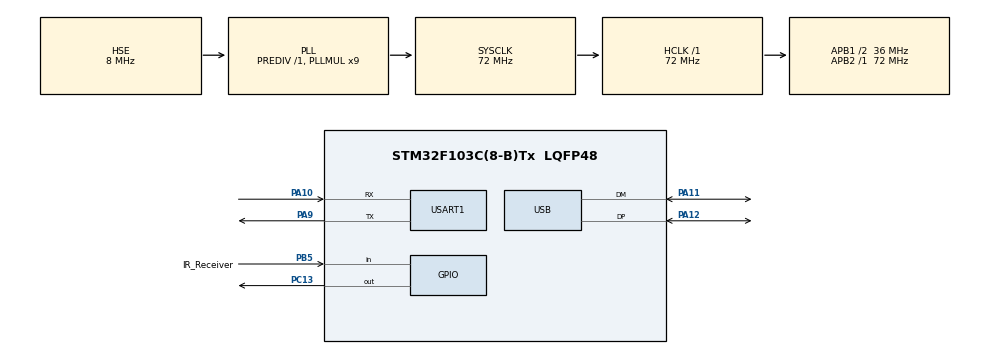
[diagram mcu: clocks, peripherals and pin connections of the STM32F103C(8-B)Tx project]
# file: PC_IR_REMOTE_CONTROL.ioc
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Mcu.Family=STM32F1
Mcu.Name=STM32F103C(8-B)Tx
Mcu.Package=LQFP48
NVIC.PriorityGroup=NVIC_PRIORITYGROUP_4
NVIC.TIM4_IRQn=true\:0\:0\:false\:false\:true\:true\:true\:true
NVIC.USB_LP_CAN1_RX0_IRQn=true\:0\:0\:false\:false\:true\:false\:true\:true
PA10.Mode=Asynchronous
PA10.Signal=USART1_RX
PA11.Mode=Device
PA11.Signal=USB_DM
PA12.Mode=Device
PA12.Signal=USB_DP
PA13.Mode=Serial_Wire
PA13.Signal=SYS_JTMS-SWDIO
PA14.Mode=Serial_Wire
PA14.Signal=SYS_JTCK-SWCLK
PA9.Mode=Asynchronous
PA9.Signal=USART1_TX
PB5.GPIO_Label=IR_Receiver
PB5.Signal=GPIO_Input
PC13-TAMPER-RTC.Signal=GPIO_Output
PD0-OSC_IN.Mode=HSE-External-Oscillator
PD0-OSC_IN.Signal=RCC_OSC_IN
PD1-OSC_OUT.Mode=HSE-External-Oscillator
PD1-OSC_OUT.Signal=RCC_OSC_OUT
ProjectManager.HeapSize=0x200
ProjectManager.StackSize=0x400
ProjectManager.TargetToolchain=STM32CubeIDE
RCC.AHBFreq_Value=72000000
RCC.APB1CLKDivider=RCC_HCLK_DIV2
RCC.APB1Freq_Value=36000000
RCC.APB1TimFreq_Value=72000000
RCC.APB2Freq_Value=72000000
RCC.APB2TimFreq_Value=72000000
RCC.HCLKFreq_Value=72000000
RCC.PLLMUL=RCC_PLL_MUL9
RCC.PLLSourceVirtual=RCC_PLLSOURCE_HSE
RCC.SYSCLKFreq_VALUE=72000000
RCC.SYSCLKSource=RCC_SYSCLKSOURCE_PLLCLK
RCC.USBFreq_Value=48000000
RCC.USBPrescaler=RCC_USBCLKSOURCE_PLL_DIV1_5
TIM4.Period=49
TIM4.Prescaler=71
USART1.VirtualMode=VM_ASYNC
USB_DEVICE.CLASS_NAME_FS=HID
USB_DEVICE.PRODUCT_STRING_HID_FS=STM32 KEYBOARD
USB_DEVICE.VirtualMode=Hid
USB_DEVICE.VirtualModeFS=Hid_FS
VP_TIM4_VS_ClockSourceINT.Mode=Internal
VP_USB_DEVICE_VS_USB_DEVICE_HID_FS.Mode=HID_FS
board=custom

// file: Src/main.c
/* USER CODE BEGIN Header */
/**
 ******************************************************************************
 * @file           : main.c
 * @brief          : Main program body
 ******************************************************************************
 * @attention
 *
 * Copyright (c) 2022 STMicroelectronics.
 * All rights reserved.
 *
 * This software is licensed under terms that can be found in the LICENSE file
 * in the root directory of this software component.
 * If no LICENSE file comes with this software, it is provided AS-IS.
 *
 ******************************************************************************
 */
/* USER CODE END Header */
#include "main.h"
#include "usb_device.h"

/* USER CODE BEGIN Includes */
#include "usbd_hid.h"
#include <stdio.h>
#include "ir_remote.h"
/* USER CODE END Includes */

TIM_HandleTypeDef htim4;

UART_HandleTypeDef huart1;

/* USER CODE BEGIN PV */
decode_results results;
/* USER CODE END PV */

void SystemClock_Config(void);
static void MX_GPIO_Init(void);
static void MX_USART1_UART_Init(void);
static void MX_TIM4_Init(void);

/* USER CODE BEGIN 0 */
extern USBD_HandleTypeDef hUsbDeviceFS;

typedef struct {
	uint8_t REPORT_ID;
	uint8_t MODIFIER;
	uint8_t RESERVED;
	uint8_t KEYCODE_1;
	uint8_t KEYCODE_2;
	uint8_t KEYCODE_3;
	uint8_t KEYCODE_4;
	uint8_t KEYCODE_5;
	uint8_t KEYCODE_6;
} keyboardHID;

keyboardHID keyboard = { 1, 0, 0, 0, 0, 0, 0, 0, 0 };

#pragma pack(push, 1)
typedef struct {
	uint8_t REPORT_ID;
	uint16_t MEDIAKEY;
} mediakeyHID;
#pragma pack(pop)

mediakeyHID mediakey = { 2, 0 };

uint8_t keyF = 0;

/* USER CODE END 0 */

int main(void) {

	/* MCU Configuration--------------------------------------------------------*/

	/* Reset of all peripherals, Initializes the Flash interface and the Systick. */
	HAL_Init();

	/* Configure the system clock */
	SystemClock_Config();

	/* Initialize all configured peripherals */
	MX_GPIO_Init();
	MX_USART1_UART_Init();
	MX_USB_DEVICE_Init();
	MX_TIM4_Init();
	/* USER CODE BEGIN 2 */
	ir_enableIRIn();

	char trans_str[64] = { 0, };
	snprintf(trans_str, 64, "IR-receiver\r\n");
	HAL_UART_Transmit(&huart1, (uint8_t*) trans_str, strlen(trans_str), 100);
	/* USER CODE END 2 */

	/* Infinite loop */
	/* USER CODE BEGIN WHILE A*/
	while (1) {

		if (keyF)
			HAL_GPIO_WritePin(GPIOC, GPIO_PIN_13, GPIO_PIN_RESET);
		else
			HAL_GPIO_WritePin(GPIOC, GPIO_PIN_13, GPIO_PIN_SET);

		if (ir_decode(&results)) {
			snprintf(trans_str, 64, "Code: HEX %p DEC %lu\r\n",
					(void*) results.value, results.value);
			HAL_UART_Transmit(&huart1, (uint8_t*) trans_str, strlen(trans_str),
					100);
			HAL_Delay(50);
			ir_resume();

			if (results.value == 0xd538681b) {
				mediakey.MEDIAKEY = 0b0000000000000001; // VOL-
				USBD_HID_SendReport(&hUsbDeviceFS, &mediakey, sizeof(mediakey));
				HAL_Delay(50);
				mediakey.MEDIAKEY = 0x00;
				USBD_HID_SendReport(&hUsbDeviceFS, &mediakey, sizeof(mediakey));
			}

			else if (results.value == 0x8c22657b) {
				mediakey.MEDIAKEY = 0b0000000000000010; // VOL+
				USBD_HID_SendReport(&hUsbDeviceFS, &mediakey, sizeof(mediakey));
				HAL_Delay(50);
				mediakey.MEDIAKEY = 0x00;
				USBD_HID_SendReport(&hUsbDeviceFS, &mediakey, sizeof(mediakey));
			}

			else if (results.value == 0x51e43d1b) {
				mediakey.MEDIAKEY = 0b0000000000000100; // MUTE
				USBD_HID_SendReport(&hUsbDeviceFS, &mediakey, sizeof(mediakey));
				HAL_Delay(50);
				mediakey.MEDIAKEY = 0x00;
				USBD_HID_SendReport(&hUsbDeviceFS, &mediakey, sizeof(mediakey));
			}

			else if (results.value == 0x9716be3f) {
				mediakey.MEDIAKEY = 0b0000000000001000; // PREV
				USBD_HID_SendReport(&hUsbDeviceFS, &mediakey, sizeof(mediakey));
				HAL_Delay(50);
				mediakey.MEDIAKEY = 0x00;
				USBD_HID_SendReport(&hUsbDeviceFS, &mediakey, sizeof(mediakey));
			}

			else if (results.value == 0xe5cfbd7f) {
				mediakey.MEDIAKEY = 0b0000000000010000; // NEXT
				USBD_HID_SendReport(&hUsbDeviceFS, &mediakey, sizeof(mediakey));
				HAL_Delay(50);
				mediakey.MEDIAKEY = 0x00;
				USBD_HID_SendReport(&hUsbDeviceFS, &mediakey, sizeof(mediakey));
			}

			else if (results.value == 0xdc0197db) {
				mediakey.MEDIAKEY = 0b0000000000100000; // PLAY/PAUSE
				USBD_HID_SendReport(&hUsbDeviceFS, &mediakey, sizeof(mediakey));
				HAL_Delay(50);
				mediakey.MEDIAKEY = 0x00;
				USBD_HID_SendReport(&hUsbDeviceFS, &mediakey, sizeof(mediakey));
			}

			else if (results.value == 0x86b0e697) {
				mediakey.MEDIAKEY = 0b0000000010000000; // STOP
				USBD_HID_SendReport(&hUsbDeviceFS, &mediakey, sizeof(mediakey));
				HAL_Delay(50);
				mediakey.MEDIAKEY = 0x00;
				USBD_HID_SendReport(&hUsbDeviceFS, &mediakey, sizeof(mediakey));
			}

			else if (results.value == 0x488f3cbb) {
				mediakey.MEDIAKEY = 0b0000000001000000; // PAUSE
				USBD_HID_SendReport(&hUsbDeviceFS, &mediakey, sizeof(mediakey));
				HAL_Delay(50);
				mediakey.MEDIAKEY = 0x00;
				USBD_HID_SendReport(&hUsbDeviceFS, &mediakey, sizeof(mediakey));
			}

			else if (results.value == 0xa23c94bf) { // PLAY
				mediakey.MEDIAKEY = 0b0000100000000000;
				USBD_HID_SendReport(&hUsbDeviceFS, &mediakey, sizeof(mediakey));
				HAL_Delay(50);
				mediakey.MEDIAKEY = 0x00;
				USBD_HID_SendReport(&hUsbDeviceFS, &mediakey, sizeof(mediakey));
			}

			else if (results.value == 0xab91951f) { // REWIND
				mediakey.MEDIAKEY = 0b0000000100000000;
				USBD_HID_SendReport(&hUsbDeviceFS, &mediakey, sizeof(mediakey));
				HAL_Delay(50);
				mediakey.MEDIAKEY = 0x00;
				USBD_HID_SendReport(&hUsbDeviceFS, &mediakey, sizeof(mediakey));
			}

			else if (results.value == 0xff9186b7) { // FORWARD
				mediakey.MEDIAKEY = 0b0000001000000000;
				USBD_HID_SendReport(&hUsbDeviceFS, &mediakey, sizeof(mediakey));
				HAL_Delay(50);
				mediakey.MEDIAKEY = 0x00;
				USBD_HID_SendReport(&hUsbDeviceFS, &mediakey, sizeof(mediakey));
			}
			/*
			 else if (results.value == 0x00ff00) { // RESERVED MEDIA BUTTON
			 mediakey.MEDIAKEY = 0b0000010000000000;
			 USBD_HID_SendReport(&hUsbDeviceFS, &mediakey, sizeof(mediakey));
			 HAL_Delay(50);
			 mediakey.MEDIAKEY = 0x00;
			 USBD_HID_SendReport(&hUsbDeviceFS, &mediakey, sizeof(mediakey));
			 }

			 else if (results.value == 0x00ff00) { // RESERVED MEDIA BUTTON
			 mediakey.MEDIAKEY = 0b0001000000000000;
			 USBD_HID_SendReport(&hUsbDeviceFS, &mediakey, sizeof(mediakey));
			 HAL_Delay(50);
			 mediakey.MEDIAKEY = 0x00;
			 USBD_HID_SendReport(&hUsbDeviceFS, &mediakey, sizeof(mediakey));
			 }

			 else if (results.value == 0x00ff00) { // RESERVED MEDIA BUTTON
			 mediakey.MEDIAKEY = 0b0010000000000000;
			 USBD_HID_SendReport(&hUsbDeviceFS, &mediakey, sizeof(mediakey));
			 HAL_Delay(50);
			 mediakey.MEDIAKEY = 0x00;
			 USBD_HID_SendReport(&hUsbDeviceFS, &mediakey, sizeof(mediakey));
			 }

			 else if (results.value == 0x00ff00) { // RESERVED MEDIA BUTTON
			 mediakey.MEDIAKEY = 0b0100000000000000;
			 USBD_HID_SendReport(&hUsbDeviceFS, &mediakey, sizeof(mediakey));
			 HAL_Delay(50);
			 mediakey.MEDIAKEY = 0x00;
			 USBD_HID_SendReport(&hUsbDeviceFS, &mediakey, sizeof(mediakey));
			 }

			 else if (results.value == 0x00ff00) { // RESERVED MEDIA BUTTON
			 mediakey.MEDIAKEY = 0b1000000000000000;
			 USBD_HID_SendReport(&hUsbDeviceFS, &mediakey, sizeof(mediakey));
			 HAL_Delay(50);
			 mediakey.MEDIAKEY = 0x00;
			 USBD_HID_SendReport(&hUsbDeviceFS, &mediakey, sizeof(mediakey));
			 }
			 */
			else if (results.value == 0x35a9425f) {
				keyboard.KEYCODE_1 = 0x52; // Command: "Up"
				USBD_HID_SendReport(&hUsbDeviceFS, &keyboard, sizeof(keyboard));
				HAL_Delay(50);
				keyboard.MODIFIER = 0x00;
				keyboard.KEYCODE_1 = 0x00;
				USBD_HID_SendReport(&hUsbDeviceFS, &keyboard, sizeof(keyboard));
			}

			else if (results.value == 0x9ef4941f) {
				keyboard.KEYCODE_1 = 0x50; // Command: "Left"
				USBD_HID_SendReport(&hUsbDeviceFS, &keyboard, sizeof(keyboard));
				HAL_Delay(50);
				keyboard.MODIFIER = 0x00;
				keyboard.KEYCODE_1 = 0x00;
				USBD_HID_SendReport(&hUsbDeviceFS, &keyboard, sizeof(keyboard));
			}

			else if (results.value == 0x8e5d3ebb) {
				keyboard.KEYCODE_1 = 0x4F; // Command: "Right"
				USBD_HID_SendReport(&hUsbDeviceFS, &keyboard, sizeof(keyboard));
				HAL_Delay(50);
				keyboard.MODIFIER = 0x00;
				keyboard.KEYCODE_1 = 0x00;
				USBD_HID_SendReport(&hUsbDeviceFS, &keyboard, sizeof(keyboard));
			}

			else if (results.value == 0xa3c8eddb) {
				keyboard.KEYCODE_1 = 0x51; // Command: "Down"
				USBD_HID_SendReport(&hUsbDeviceFS, &keyboard, sizeof(keyboard));
				HAL_Delay(50);
				keyboard.MODIFIER = 0x00;
				keyboard.KEYCODE_1 = 0x00;
				USBD_HID_SendReport(&hUsbDeviceFS, &keyboard, sizeof(keyboard));
			}

			else if (results.value == 0xf377c5b7) {
				keyboard.KEYCODE_1 = 0x28; // Command: "Enter"
				USBD_HID_SendReport(&hUsbDeviceFS, &keyboard, sizeof(keyboard));
				HAL_Delay(50);
				keyboard.MODIFIER = 0x00;
				keyboard.KEYCODE_1 = 0x00;
				USBD_HID_SendReport(&hUsbDeviceFS, &keyboard, sizeof(keyboard));
			}

			else if (results.value == 0xc101e57b) {
				keyboard.KEYCODE_1 = 0x29; // Command: "Esc"
				USBD_HID_SendReport(&hUsbDeviceFS, &keyboard, sizeof(keyboard));
				HAL_Delay(50);
				keyboard.MODIFIER = 0x00;
				keyboard.KEYCODE_1 = 0x00;
				USBD_HID_SendReport(&hUsbDeviceFS, &keyboard, sizeof(keyboard));
			}

			else if (results.value == 0x5be75e7f) {
				keyboard.KEYCODE_1 = 0x09; // [OFF] Command: "F"
				USBD_HID_SendReport(&hUsbDeviceFS, &keyboard, sizeof(keyboard));
				HAL_Delay(50);
				keyboard.MODIFIER = 0x00;
				keyboard.KEYCODE_1 = 0x00;
				USBD_HID_SendReport(&hUsbDeviceFS, &keyboard, sizeof(keyboard));
			}

			else if (results.value == 0x97483bfb) {
				keyboard.KEYCODE_1 = 0x2C; // Command: "Space"
				USBD_HID_SendReport(&hUsbDeviceFS, &keyboard, sizeof(keyboard));
				HAL_Delay(50);
				keyboard.MODIFIER = 0x00;
				keyboard.KEYCODE_1 = 0x00;
				USBD_HID_SendReport(&hUsbDeviceFS, &keyboard, sizeof(keyboard));
			}

			else if (results.value == 0x3d9ae3f7) {
				keyboard.KEYCODE_1 = 0x2B; // Command: "Tab"
				USBD_HID_SendReport(&hUsbDeviceFS, &keyboard, sizeof(keyboard));
				HAL_Delay(50);
				keyboard.MODIFIER = 0x00;
				keyboard.KEYCODE_1 = 0x00;
				USBD_HID_SendReport(&hUsbDeviceFS, &keyboard, sizeof(keyboard));
			}

			else if (results.value == 0xf63c8657) {
				if (!keyF)
					keyboard.KEYCODE_1 = 0x1E; // Command: "1"
				else
					keyboard.KEYCODE_1 = 0x3A; // Command: "F1"
				USBD_HID_SendReport(&hUsbDeviceFS, &keyboard, sizeof(keyboard));
				HAL_Delay(50);
				keyboard.MODIFIER = 0x00;
				keyboard.KEYCODE_1 = 0x00;
				USBD_HID_SendReport(&hUsbDeviceFS, &keyboard, sizeof(keyboard));
			}

			else if (results.value == 0xe721c0db) {
				if (!keyF)
					keyboard.KEYCODE_1 = 0x1F; // Command: "2"
				else
					keyboard.KEYCODE_1 = 0x3B; // Command: "F2"
				USBD_HID_SendReport(&hUsbDeviceFS, &keyboard, sizeof(keyboard));
				HAL_Delay(50);
				keyboard.MODIFIER = 0x00;
				keyboard.KEYCODE_1 = 0x00;
				USBD_HID_SendReport(&hUsbDeviceFS, &keyboard, sizeof(keyboard));
			}

			else if (results.value == 0xaa99e7b) {
				if (!keyF)
					keyboard.KEYCODE_1 = 0x20; // Command: "3"
				else
					keyboard.KEYCODE_1 = 0x3C; // Command: "F3"
				USBD_HID_SendReport(&hUsbDeviceFS, &keyboard, sizeof(keyboard));
				HAL_Delay(50);
				keyboard.MODIFIER = 0x00;
				keyboard.KEYCODE_1 = 0x00;
				USBD_HID_SendReport(&hUsbDeviceFS, &keyboard, sizeof(keyboard));
			}

			else if (results.value == 0x6456f67f) {
				if (!keyF)
					keyboard.KEYCODE_1 = 0x21; // Command: "4"
				else
					keyboard.KEYCODE_1 = 0x3D; // Command: "F4"
				USBD_HID_SendReport(&hUsbDeviceFS, &keyboard, sizeof(keyboard));
				HAL_Delay(50);
				keyboard.MODIFIER = 0x00;
				keyboard.KEYCODE_1 = 0x00;
				USBD_HID_SendReport(&hUsbDeviceFS, &keyboard, sizeof(keyboard));
			}

			else if (results.value == 0x378e71f) {
				if (!keyF)
					keyboard.KEYCODE_1 = 0x22; // Command: "5"
				else
					keyboard.KEYCODE_1 = 0x3E; // Command: "F5"
				USBD_HID_SendReport(&hUsbDeviceFS, &keyboard, sizeof(keyboard));
				HAL_Delay(50);
				keyboard.MODIFIER = 0x00;
				keyboard.KEYCODE_1 = 0x00;
				USBD_HID_SendReport(&hUsbDeviceFS, &keyboard, sizeof(keyboard));
			}

			else if (results.value == 0x53bfa11b) {
				if (!keyF)
					keyboard.KEYCODE_1 = 0x23; // Command: "6"
				else
					keyboard.KEYCODE_1 = 0x3F; // Command: "F6"
				USBD_HID_SendReport(&hUsbDeviceFS, &keyboard, sizeof(keyboard));
				HAL_Delay(50);
				keyboard.MODIFIER = 0x00;
				keyboard.KEYCODE_1 = 0x00;
				USBD_HID_SendReport(&hUsbDeviceFS, &keyboard, sizeof(keyboard));
			}

			else if (results.value == 0x2355bd47) {
				if (!keyF)
					keyboard.KEYCODE_1 = 0x24; // Command: "7"
				else
					keyboard.KEYCODE_1 = 0x40; // Command: "F7"
				USBD_HID_SendReport(&hUsbDeviceFS, &keyboard, sizeof(keyboard));
				HAL_Delay(50);
				keyboard.MODIFIER = 0x00;
				keyboard.KEYCODE_1 = 0x00;
				USBD_HID_SendReport(&hUsbDeviceFS, &keyboard, sizeof(keyboard));
			}

			else if (results.value == 0xb3ca0f43) {
				if (!keyF)
					keyboard.KEYCODE_1 = 0x25; // Command: "8"
				else
					keyboard.KEYCODE_1 = 0x41; // Command: "F8"
				USBD_HID_SendReport(&hUsbDeviceFS, &keyboard, sizeof(keyboard));
				HAL_Delay(50);
				keyboard.MODIFIER = 0x00;
				keyboard.KEYCODE_1 = 0x00;
				USBD_HID_SendReport(&hUsbDeviceFS, &keyboard, sizeof(keyboard));
			}

			else if (results.value == 0xd10306e3) {
				if (!keyF)
					keyboard.KEYCODE_1 = 0x26; // Command: "9"
				else
					keyboard.KEYCODE_1 = 0x42; // Command: "F9"
				USBD_HID_SendReport(&hUsbDeviceFS, &keyboard, sizeof(keyboard));
				HAL_Delay(50);
				keyboard.MODIFIER = 0x00;
				keyboard.KEYCODE_1 = 0x00;
				USBD_HID_SendReport(&hUsbDeviceFS, &keyboard, sizeof(keyboard));
			}

			else if (results.value == 0xb40c5d5f) {
				if (!keyF)
					keyboard.KEYCODE_1 = 0x27; // Command: "0"
				else
					keyboard.KEYCODE_1 = 0x43; // Command: "F10"
				USBD_HID_SendReport(&hUsbDeviceFS, &keyboard, sizeof(keyboard));
				HAL_Delay(50);
				keyboard.MODIFIER = 0x00;
				keyboard.KEYCODE_1 = 0x00;
				USBD_HID_SendReport(&hUsbDeviceFS, &keyboard, sizeof(keyboard));
			}

			else if (results.value == 0x2149c0df) {
				if (!keyF)
					keyboard.KEYCODE_1 = 0x2D; // Command: "-"
				else
					keyboard.KEYCODE_1 = 0x44; // Command: "F11"
				USBD_HID_SendReport(&hUsbDeviceFS, &keyboard, sizeof(keyboard));
				HAL_Delay(50);
				keyboard.MODIFIER = 0x00;
				keyboard.KEYCODE_1 = 0x00;
				USBD_HID_SendReport(&hUsbDeviceFS, &keyboard, sizeof(keyboard));
			}

			else if (results.value == 0x4480af5b) {
				if (!keyF)
					keyboard.KEYCODE_1 = 0x2E; // Command: "="
				else
					keyboard.KEYCODE_1 = 0x45; // Command: "F12"
				USBD_HID_SendReport(&hUsbDeviceFS, &keyboard, sizeof(keyboard));
				HAL_Delay(50);
				keyboard.MODIFIER = 0x00;
				keyboard.KEYCODE_1 = 0x00;
				USBD_HID_SendReport(&hUsbDeviceFS, &keyboard, sizeof(keyboard));
			}

			else if (results.value == 0x13549bdf) {
				keyboard.KEYCODE_1 = 0x44; // Command: "F11"
				USBD_HID_SendReport(&hUsbDeviceFS, &keyboard, sizeof(keyboard));
				HAL_Delay(50);
				keyboard.MODIFIER = 0x00;
				keyboard.KEYCODE_1 = 0x00;
				USBD_HID_SendReport(&hUsbDeviceFS, &keyboard, sizeof(keyboard));
			}

			else if (results.value == 0x45473c1b) {
				keyboard.KEYCODE_1 = 0x2A; // Command: "Backspace"
				USBD_HID_SendReport(&hUsbDeviceFS, &keyboard, sizeof(keyboard));
				HAL_Delay(50);
				keyboard.MODIFIER = 0x00;
				keyboard.KEYCODE_1 = 0x00;
				USBD_HID_SendReport(&hUsbDeviceFS, &keyboard, sizeof(keyboard));
			}

			else if (results.value == 0x44c407db) {
				if (!keyF)
					keyF = 1;
				else
					keyF = 0;
			}

		}
		/* USER CODE END WHILE */

	}
}

void SystemClock_Config(void) {
	RCC_OscInitTypeDef RCC_OscInitStruct = { 0 };
	RCC_ClkInitTypeDef RCC_ClkInitStruct = { 0 };
	RCC_PeriphCLKInitTypeDef PeriphClkInit = { 0 };

	/** Initializes the RCC Oscillators according to the specified parameters
	 * in the RCC_OscInitTypeDef structure.
	 */
	RCC_OscInitStruct.OscillatorType = RCC_OSCILLATORTYPE_HSE;
	RCC_OscInitStruct.HSEState = RCC_HSE_ON;
	RCC_OscInitStruct.HSEPredivValue = RCC_HSE_PREDIV_DIV1;
	RCC_OscInitStruct.HSIState = RCC_HSI_ON;
	RCC_OscInitStruct.PLL.PLLState = RCC_PLL_ON;
	RCC_OscInitStruct.PLL.PLLSource = RCC_PLLSOURCE_HSE;
	RCC_OscInitStruct.PLL.PLLMUL = RCC_PLL_MUL9;
	if (HAL_RCC_OscConfig(&RCC_OscInitStruct) != HAL_OK) {
		Error_Handler();
	}
	/** Initializes the CPU, AHB and APB buses clocks
	 */
	RCC_ClkInitStruct.ClockType = RCC_CLOCKTYPE_HCLK | RCC_CLOCKTYPE_SYSCLK
			| RCC_CLOCKTYPE_PCLK1 | RCC_CLOCKTYPE_PCLK2;
	RCC_ClkInitStruct.SYSCLKSource = RCC_SYSCLKSOURCE_PLLCLK;
	RCC_ClkInitStruct.AHBCLKDivider = RCC_SYSCLK_DIV1;
	RCC_ClkInitStruct.APB1CLKDivider = RCC_HCLK_DIV2;
	RCC_ClkInitStruct.APB2CLKDivider = RCC_HCLK_DIV1;

	if (HAL_RCC_ClockConfig(&RCC_ClkInitStruct, FLASH_LATENCY_2) != HAL_OK) {
		Error_Handler();
	}
	PeriphClkInit.PeriphClockSelection = RCC_PERIPHCLK_USB;
	PeriphClkInit.UsbClockSelection = RCC_USBCLKSOURCE_PLL_DIV1_5;
	if (HAL_RCCEx_PeriphCLKConfig(&PeriphClkInit) != HAL_OK) {
		Error_Handler();
	}
}

static void MX_TIM4_Init(void) {

	TIM_ClockConfigTypeDef sClockSourceConfig = { 0 };
	TIM_MasterConfigTypeDef sMasterConfig = { 0 };

	htim4.Instance = TIM4;
	htim4.Init.Prescaler = 71;
	htim4.Init.CounterMode = TIM_COUNTERMODE_UP;
	htim4.Init.Period = 49;
	htim4.Init.ClockDivision = TIM_CLOCKDIVISION_DIV1;
	htim4.Init.AutoReloadPreload = TIM_AUTORELOAD_PRELOAD_DISABLE;
	if (HAL_TIM_Base_Init(&htim4) != HAL_OK) {
		Error_Handler();
	}
	sClockSourceConfig.ClockSource = TIM_CLOCKSOURCE_INTERNAL;
	if (HAL_TIM_ConfigClockSource(&htim4, &sClockSourceConfig) != HAL_OK) {
		Error_Handler();
	}
	sMasterConfig.MasterOutputTrigger = TIM_TRGO_RESET;
	sMasterConfig.MasterSlaveMode = TIM_MASTERSLAVEMODE_DISABLE;
	if (HAL_TIMEx_MasterConfigSynchronization(&htim4, &sMasterConfig)
			!= HAL_OK) {
		Error_Handler();
	}

}

static void MX_USART1_UART_Init(void) {

	huart1.Instance = USART1;
	huart1.Init.BaudRate = 115200;
	huart1.Init.WordLength = UART_WORDLENGTH_8B;
	huart1.Init.StopBits = UART_STOPBITS_1;
	huart1.Init.Parity = UART_PARITY_NONE;
	huart1.Init.Mode = UART_MODE_TX_RX;
	huart1.Init.HwFlowCtl = UART_HWCONTROL_NONE;
	huart1.Init.OverSampling = UART_OVERSAMPLING_16;
	if (HAL_UART_Init(&huart1) != HAL_OK) {
		Error_Handler();
	}

}

static void MX_GPIO_Init(void) {
	GPIO_InitTypeDef GPIO_InitStruct = { 0 };

	/* GPIO Ports Clock Enable */
	__HAL_RCC_GPIOC_CLK_ENABLE();
	__HAL_RCC_GPIOD_CLK_ENABLE();
	__HAL_RCC_GPIOA_CLK_ENABLE();
	__HAL_RCC_GPIOB_CLK_ENABLE();

	/*Configure GPIO pin Output Level */
	HAL_GPIO_WritePin(GPIOC, GPIO_PIN_13, GPIO_PIN_RESET);

	/*Configure GPIO pin : PC13 */
	GPIO_InitStruct.Pin = GPIO_PIN_13;
	GPIO_InitStruct.Mode = GPIO_MODE_OUTPUT_PP;
	GPIO_InitStruct.Pull = GPIO_NOPULL;
	GPIO_InitStruct.Speed = GPIO_SPEED_FREQ_LOW;
	HAL_GPIO_Init(GPIOC, &GPIO_InitStruct);

	/*Configure GPIO pin : IR_Receiver_Pin */
	GPIO_InitStruct.Pin = IR_Receiver_Pin;
	GPIO_InitStruct.Mode = GPIO_MODE_INPUT;
	GPIO_InitStruct.Pull = GPIO_NOPULL;
	HAL_GPIO_Init(IR_Receiver_GPIO_Port, &GPIO_InitStruct);

}

void Error_Handler(void) {
	__disable_irq();
	while (1) {
	}
}
